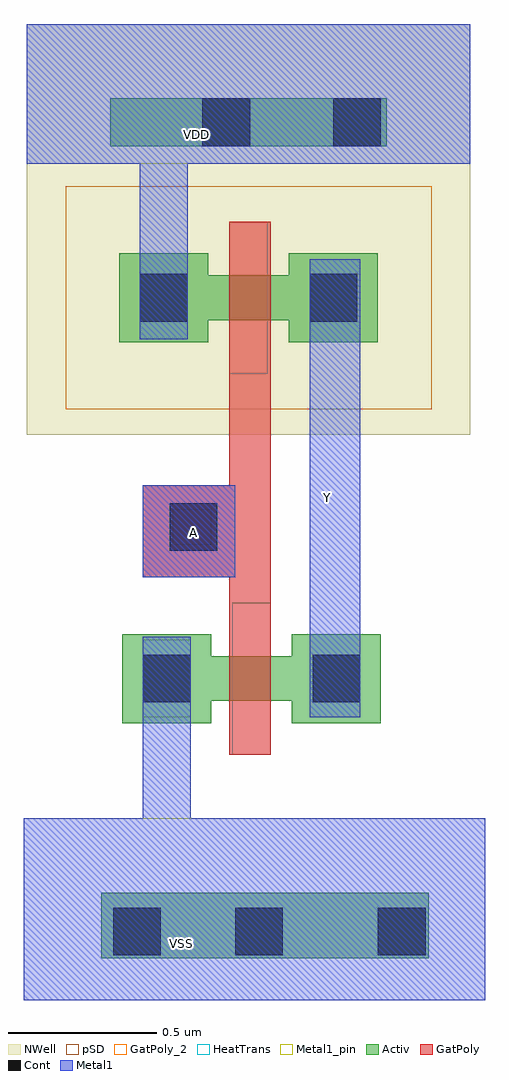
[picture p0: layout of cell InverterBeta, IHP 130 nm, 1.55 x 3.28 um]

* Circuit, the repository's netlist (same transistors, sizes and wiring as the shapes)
* Extracted by KLayout with SG13G2 LVS runset on : 12/09/2026 05:48

.SUBCKT InverterBeta
M$1 VSS A Y VSS sg13_lv_nmos L=0.14u W=0.15u AS=0.099p AD=0.1005p PS=1.32u
+ PD=1.34u rfmode=0
M$2 VDD A Y VDD sg13_lv_pmos L=0.14u W=0.15u AS=0.1005p AD=0.099p PS=1.34u
+ PD=1.32u rfmode=0
.ENDS InverterBeta

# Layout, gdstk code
import gdstk
lib = gdstk.Library(unit=1e-6, precision=5e-09)
def R(c, l, rs):  # rectangles x0, y0, x1, y1
    for r in rs: c.add(gdstk.rectangle(r[:2], r[2:], *l))
Activ = (1, 0)
GatPoly = (5, 0)
GatPoly_2 = (5, 2)
Cont = (6, 0)
Metal1 = (8, 0)
Metal1_pin = (8, 2)
pSD = (14, 0)
NWell = (31, 0)
HeatTrans = (51, 0)

pmos = lib.new_cell('pmos')
R(pmos, Activ, [(0,0,0.3,0.3), (0.57,0,0.87,0.3), (0,0.075,0.87,0.225)])
R(pmos, GatPoly, [(0.37,-0.105,0.5,0.405), (0.37,-0.105,0.5,0.405)])
R(pmos, Cont, [(0.07,0.07,0.23,0.23), (0.64,0.07,0.8,0.23)])
R(pmos, Metal1, [(0.07,0.02,0.23,0.28), (0.07,0.02,0.23,0.28), (0.64,0.02,0.8,0.28), (0.64,0.02,0.8,0.28)])
R(pmos, pSD, [(-0.18,-0.225,1.05,0.525)])
R(pmos, NWell, [(-0.31,-0.31,1.18,0.61)])
R(pmos, HeatTrans, [(0.37,-0.105,0.5,0.405)])
pmos.add(gdstk.Label('pmos', (0.435,0.15), layer=63, texttype=0))
pmos.add(gdstk.Label('pmos', (0.435,0.15), layer=51, texttype=0))

nmos = lib.new_cell('nmos')
R(nmos, Activ, [(0,0,0.3,0.3), (0.57,0,0.87,0.3), (0,0.075,0.87,0.225)])
R(nmos, GatPoly, [(0.37,-0.105,0.5,0.405)])
R(nmos, GatPoly_2, [(0.37,-0.105,0.5,0.405)])
R(nmos, Cont, [(0.07,0.07,0.23,0.23), (0.64,0.07,0.8,0.23)])
R(nmos, Metal1, [(0.07,0.02,0.23,0.28), (0.64,0.02,0.8,0.28)])
R(nmos, Metal1_pin, [(0.07,0.02,0.23,0.28), (0.64,0.02,0.8,0.28)])
R(nmos, HeatTrans, [(0.37,-0.105,0.5,0.405)])
nmos.add(gdstk.Label('nmos', (0.435,0.15), layer=63, texttype=0))
nmos.add(gdstk.Label('nmos', (0.435,0.15), layer=51, texttype=0))

inverterbeta = lib.new_cell('InverterBeta')
R(inverterbeta, Activ, [(-8.79,-5.14,-7.69,-4.92), (-8.76,-2.41,-7.83,-2.25)])
R(inverterbeta, GatPoly, [(-8.36,-4.455,-8.22,-2.665), (-8.65,-3.86,-8.34,-3.55)])
R(inverterbeta, Cont, [(-8.75,-5.13,-8.59,-4.97), (-8.34,-5.13,-8.18,-4.97), (-7.86,-5.13,-7.7,-4.97), (-8.56,-3.77,-8.4,-3.61), (-8.45,-2.41,-8.29,-2.25), (-8.01,-2.41,-7.85,-2.25)])
R(inverterbeta, Metal1, [(-9.05,-5.28,-7.5,-4.67), (-8.65,-4.72,-8.49,-4.06), (-8.09,-4.33,-7.92,-2.79), (-8.65,-3.86,-8.34,-3.55), (-8.66,-3.06,-8.5,-2.35), (-9.04,-2.47,-7.55,-2.17), (-9.04,-2.17,-7.55,-2)])
R(inverterbeta, Metal1_pin, [(-9.05,-5.28,-7.5,-4.67), (-8.09,-4.33,-7.92,-2.79), (-8.55,-3.75,-8.42,-3.63), (-9.04,-2.47,-7.55,-2.17), (-9.04,-2.17,-7.55,-2)])
R(inverterbeta, pSD, [(-9.05,-5.28,-7.5,-4.67)])
R(inverterbeta, NWell, [(-9.04,-2.47,-7.55,-2)])
inverterbeta.add(gdstk.Reference(pmos, (-8.73,-3.07)))
inverterbeta.add(gdstk.Reference(nmos, (-8.72,-4.35)))
inverterbeta.add(gdstk.Label('A', (-8.48,-3.71), layer=8, texttype=25))
inverterbeta.add(gdstk.Label('VSS', (-8.52,-5.09), layer=8, texttype=25))
inverterbeta.add(gdstk.Label('Y', (-8.03,-3.59), layer=8, texttype=25))
inverterbeta.add(gdstk.Label('VDD', (-8.47,-2.37), layer=8, texttype=25))

lib.write_gds('InverterBeta.gds')
